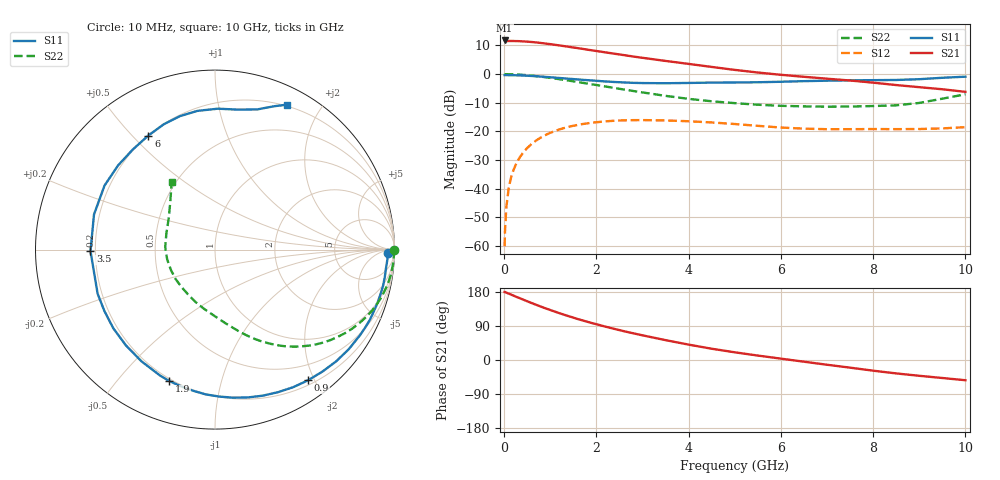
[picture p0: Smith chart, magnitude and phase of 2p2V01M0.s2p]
! (c) 2009  Infineon Technologies AG, Munich
! Infineon Technologies  Discrete & RF Semiconductors
! BFP420
! VCE =  2.0 V,  IC =  1.0 mA
! Common Emitter S-Parameters:  Nov 2009
# GHz  S  MA  R  50
!  f  S11  S21  S12  S22
! GHz  MAG  ANG  MAG  ANG  MAG  ANG  MAG  ANG
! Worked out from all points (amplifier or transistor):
!   46 points, 10 MHz to 10 GHz, reference 50 ohm
!   highest |S21| = 11.7 dB at 10 MHz (marker M1)
!   |S21| within 3 dB of that: start of sweep to 1.726 GHz
!   unconditionally stable (mu >= 1): 4.344 GHz to end of sweep
!   at 300 MHz: K = 0.02, MSG = 20.8 dB, |S12| = -30.1 dB
!   at 1.7 GHz: K = 0.28, MSG = 13.1 dB, |S12| = -17.4 dB
!   at 10 GHz: K = 1.34, MAG = 2.7 dB, |S12| = -18.5 dB
!   lowest NFmin = 0.53 dB at 900 MHz
!   S11 on the Smith chart (normalised r, x): 10 MHz: 43, -19; 900 MHz: 0.26, -1.91; 1.9 GHz: 0.19, -0.69; 3.5 GHz: 0.18, -0.01; 6 GHz: 0.20, +0.56; 10 GHz: 0.18, +1.60
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0.01  0.9618 -1.0  3.866 179.5  0.001 114.3  0.9973 -0.1
0.02  0.9604 -1.1  3.731 179.4  0.002 89.7  0.9971 -0.7
0.05  0.9627 -2.9  3.759 177.6  0.005 90.7  0.9974 -1.7
0.1  0.9584 -6.1  3.786 175.1  0.0105 86.3  0.9963 -3.5
0.2  0.9581 -12.2  3.784 170.1  0.021 82.9  0.991 -7.1
0.35  0.9492 -21.4  3.751 162.5  0.0365 77.2  0.9778 -12.3
0.6  0.9294 -36.6  3.63 150.1  0.0611 67.8  0.9415 -20.7
0.9  0.8936 -54.6  3.414 136.2  0.087 57.0  0.8823 -29.9
1.2  0.8563 -71.9  3.165 123.4  0.1087 47.1  0.8154 -38.3
1.4  0.8313 -83.0  2.996 115.5  0.1205 40.9  0.7708 -43.3
1.7  0.7957 -98.9  2.759 104.5  0.1348 32.4  0.7059 -50.0
1.9  0.7755 -109.1  2.604 97.6  0.142 27.1  0.6647 -54.1
2.2  0.745 -123.4  2.395 87.9  0.1502 19.8  0.6082 -59.6
2.6  0.7164 -142.3  2.145 75.9  0.1564 10.7  0.5386 -66.7
3  0.6986 -159.4  1.926 65.1  0.158 2.8  0.4798 -73.1
3.5  0.6937 -179.3  1.699 52.4  0.1557 -5.7  0.4178 -81.4
4.5  0.7115 149.9  1.335 29.7  0.1437 -18.5  0.3362 -100.3
5.5  0.7218 129.3  1.067 11.7  0.1254 -25.9  0.2926 -120.2
6  0.7361 120.3  0.973 3.6  0.1172 -27.0  0.2802 -131.3
7  0.7687 104.8  0.833 -12.5  0.1096 -26.1  0.2706 -154.8
8.5  0.7906 80.5  0.645 -35.4  0.1098 -26.2  0.2858 161.3
10  0.9026 63.5  0.491 -53.4  0.1188 -24.3  0.4454 122.8
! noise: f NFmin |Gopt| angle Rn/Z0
0.9  0.53  0.67  34  0.35
1.8  1.15  0.44  77  0.27
2.4  1.28  0.44  100  0.22
3  1.61  0.45  131  0.15
4  1.9  0.47  -177  0.09
5  2.32  0.44  -133  0.45
6  3.43  0.6  -118  0.25
